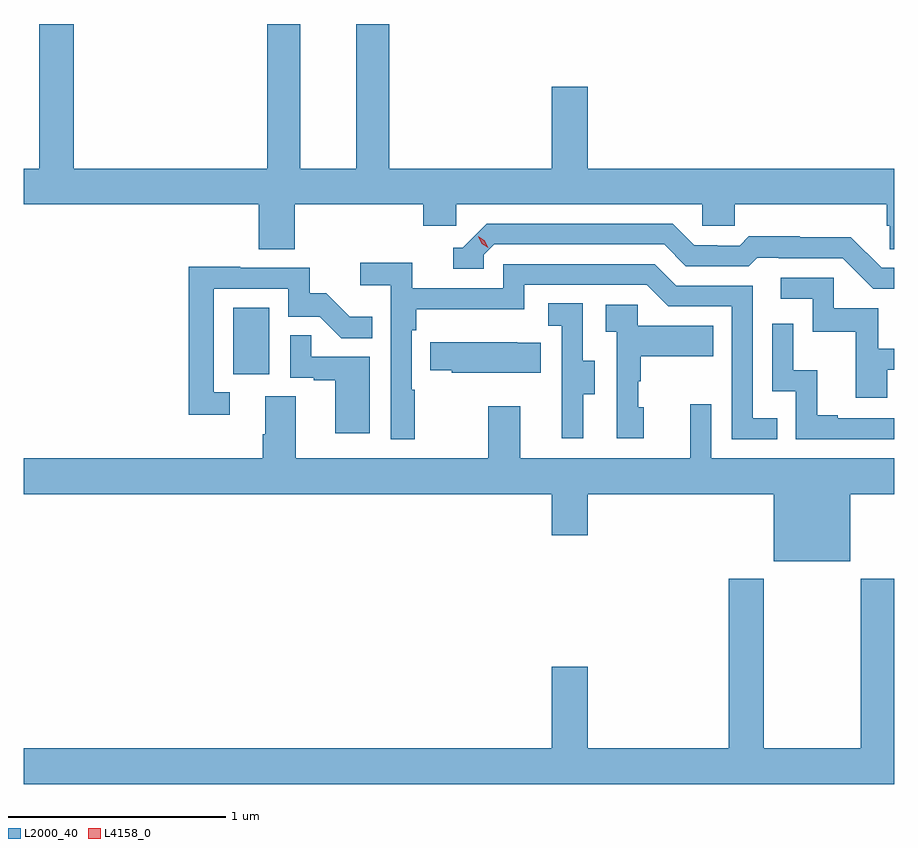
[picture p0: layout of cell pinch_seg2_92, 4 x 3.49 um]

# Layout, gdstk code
import gdstk
lib = gdstk.Library(unit=1e-6, precision=1e-09)
def R(c, l, rs):  # rectangles x0, y0, x1, y1
    for r in rs: c.add(gdstk.rectangle(r[:2], r[2:], *l))
def P(c, l, *ps):  # polygons
    for p in ps: c.add(gdstk.Polygon(p, *l))
L2000_40 = (2000, 40)
L4158_0 = (4158, 0)

pinch_seg2_92 = lib.new_cell('pinch_seg2_92')
R(pinch_seg2_92, L2000_40, [(1074.632,636.198,1074.796,636.505)])
P(pinch_seg2_92, L2000_40, [(1074.914,636.98),(1075.505,636.98),(1075.505,636.882),(1075.656,636.882),(1075.656,636.98),(1076.787,636.98),(1076.787,636.882),(1076.937,636.882),(1076.937,636.98),(1077.635,636.98),(1077.635,636.882),(1077.649,636.882),(1077.649,636.772),(1077.669,636.772),(1077.669,637.144),(1076.26,637.144),(1076.26,637.519),(1076.096,637.519),(1076.096,637.144),(1075.349,637.144),(1075.349,637.808),(1075.196,637.808),(1075.196,637.144),(1074.94,637.144),(1074.94,637.808),(1074.788,637.808),(1074.788,637.144),(1073.9,637.144),(1073.9,637.808),(1073.74,637.808),(1073.74,637.144),(1073.669,637.144),(1073.669,636.98),(1074.749,636.98),(1074.749,636.772),(1074.914,636.772)],
  [(1077.669,636.687),(1077.612,636.687),(1077.47,636.829),(1077.234,636.829),(1077.234,636.832),(1077.001,636.832),(1076.959,636.789),(1076.856,636.789),(1076.856,636.792),(1076.749,636.792),(1076.65,636.891),(1075.797,636.891),(1075.686,636.78),(1075.643,636.78),(1075.643,636.684),(1075.782,636.684),(1075.782,636.747),(1075.83,636.795),(1076.613,636.795),(1076.712,636.696),(1077.001,636.696),(1077.04,636.735),(1077.139,636.735),(1077.139,636.732),(1077.432,636.732),(1077.573,636.591),(1077.669,636.591)],
  [(1075.465,636.128),(1075.452,636.128),(1075.452,636.401),(1075.472,636.401),(1075.472,636.497),(1075.968,636.497),(1075.968,636.609),(1076.532,636.609),(1076.631,636.51),(1076.922,636.51),(1076.922,635.901),(1077.131,635.901),(1077.131,635.997),(1077.018,635.997),(1077.018,636.606),(1076.668,636.606),(1076.569,636.705),(1075.872,636.705),(1075.872,636.594),(1075.454,636.594),(1075.454,636.71),(1075.215,636.71),(1075.215,636.608),(1075.356,636.608),(1075.356,635.901),(1075.465,635.901)],
  [(1074.616,636.117),(1074.543,636.117),(1074.543,636.591),(1074.885,636.591),(1074.885,636.462),(1075.029,636.462),(1075.127,636.364),(1075.271,636.364),(1075.271,636.463),(1075.167,636.463),(1075.06,636.57),(1074.984,636.57),(1074.984,636.687),(1074.665,636.687),(1074.665,636.692),(1074.427,636.692),(1074.427,636.012),(1074.616,636.012)],
  [(1077.637,636.219),(1077.669,636.219),(1077.669,636.315),(1077.595,636.315),(1077.595,636.501),(1077.39,636.501),(1077.39,636.642),(1077.147,636.642),(1077.147,636.546),(1077.294,636.546),(1077.294,636.393),(1077.493,636.393),(1077.493,636.09),(1077.637,636.09)],
  [(1076.239,636.106),(1076.293,636.106),(1076.293,636.261),(1076.238,636.261),(1076.238,636.524),(1076.079,636.524),(1076.079,636.421),(1076.142,636.421),(1076.142,636.117),(1076.141,636.117),(1076.141,635.904),(1076.239,635.904)],
  [(1076.518,636.048),(1076.493,636.048),(1076.493,636.167),(1076.503,636.167),(1076.503,636.281),(1076.837,636.281),(1076.837,636.421),(1076.49,636.421),(1076.49,636.519),(1076.343,636.519),(1076.343,636.395),(1076.394,636.395),(1076.394,635.904),(1076.518,635.904)],
  [(1077.669,635.997),(1077.409,635.997),(1077.409,636.01),(1077.314,636.01),(1077.314,636.218),(1077.204,636.218),(1077.204,636.43),(1077.108,636.43),(1077.108,636.12),(1077.216,636.12),(1077.216,635.901),(1077.669,635.901)],
  [(1075.258,636.279),(1074.989,636.279),(1074.989,636.377),(1074.894,636.377),(1074.894,636.183),(1075.001,636.183),(1075.001,636.171),(1075.1,636.171),(1075.1,635.928),(1075.258,635.928)],
  [(1076.045,636.343),(1075.937,636.343),(1075.937,636.346),(1075.537,636.346),(1075.537,636.217),(1075.635,636.217),(1075.635,636.206),(1076.045,636.206)],
  [(1077.466,635.648),(1077.669,635.648),(1077.669,635.812),(1076.829,635.812),(1076.829,636.061),(1076.732,636.061),(1076.732,635.812),(1075.951,635.812),(1075.951,636.052),(1075.804,636.052),(1075.804,635.812),(1074.919,635.812),(1074.919,636.098),(1074.779,636.098),(1074.779,635.924),(1074.767,635.924),(1074.767,635.812),(1073.669,635.812),(1073.669,635.648),(1076.096,635.648),(1076.096,635.46),(1076.26,635.46),(1076.26,635.648),(1077.116,635.648),(1077.116,635.339),(1077.466,635.339)],
  [(1077.669,635.26),(1077.514,635.26),(1077.514,634.48),(1077.069,634.48),(1077.069,635.26),(1076.909,635.26),(1076.909,634.48),(1076.26,634.48),(1076.26,634.855),(1076.096,634.855),(1076.096,634.48),(1073.669,634.48),(1073.669,634.316),(1077.669,634.316)])
P(pinch_seg2_92, L4158_0, [(1075.804,636.779),(1075.773,636.798),(1075.757,636.831),(1075.757,636.832),(1075.757,636.832),(1075.788,636.812),(1075.804,636.779),(1075.804,636.779)])

lib.write_gds('pinch_seg2_92.gds')
